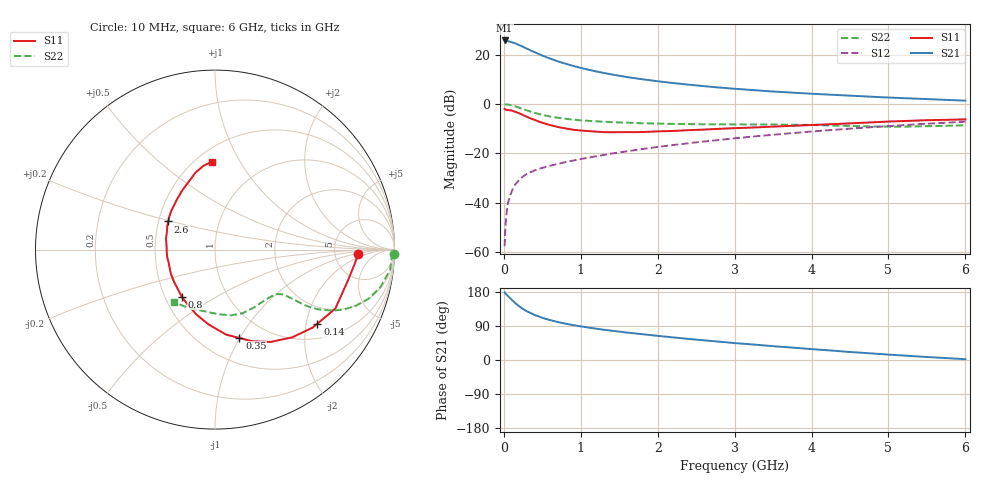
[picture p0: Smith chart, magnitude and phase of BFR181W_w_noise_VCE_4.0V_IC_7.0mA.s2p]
! Infineon Technologies  Discrete & RF Semiconductors
! BFR181W
! VCE =  4.0 V,  IC =  7.0 mA
! Common Emitter S-Parameters:  Jan 2017
# GHz  S  MA  R  50
!  f  S11  S21  S12  S22
! GHz  MAG  ANG  MAG  ANG  MAG  ANG  MAG  ANG
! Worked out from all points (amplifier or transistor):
!   77 points, 10 MHz to 6 GHz, reference 50 ohm
!   highest |S21| = 25.9 dB at 10 MHz (marker M1)
!   |S21| within 3 dB of that: start of sweep to 277.8 MHz
!   unconditionally stable (mu >= 1): 1.168 GHz to 3.165 GHz
!   at 130 MHz: K = 0.22, MSG = 29.3 dB, |S12| = -33.7 dB
!   at 2.2 GHz: K = 1.07, MAG = 11.0 dB, |S12| = -16.6 dB
!   at 6 GHz: K = 0.85, MSG = 4.3 dB, |S12| = -7.1 dB
!   lowest NFmin = 1.08 dB at 450 MHz
!   S11 on the Smith chart (normalised r, x): 10 MHz: 8.77, -1.22; 140 MHz: 1.42, -2.33; 350 MHz: 0.75, -1.00; 800 MHz: 0.61, -0.36; 2.6 GHz: 0.56, +0.19; 6 GHz: 0.60, +0.77
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0.01  0.7989 -1.8  19.65 178.5  0.0013 87.8  0.9961 -1.3
0.02  0.7793 -6.6  19.31 175.5  0.003 93.5  0.986 -2.4
0.05  0.7606 -13.0  19.07 169.4  0.009 82.1  0.9825 -6.5
0.07  0.7503 -18.2  18.66 165.4  0.012 79.5  0.9668 -8.9
0.1  0.7467 -26.1  18.21 159.2  0.0165 77.3  0.9466 -12.6
0.14  0.7042 -35.9  17.32 151.9  0.0222 72.7  0.9082 -16.6
0.2  0.6509 -48.7  15.84 141.6  0.0287 68.9  0.8452 -21.7
0.25  0.6008 -58.9  14.61 134.4  0.034 64.5  0.7938 -24.8
0.3  0.5517 -67.8  13.38 128.4  0.0383 62.5  0.7441 -27.2
0.35  0.5108 -74.6  12.32 123.9  0.0416 61.3  0.7039 -28.6
0.4  0.4782 -82.4  11.36 118.7  0.045 60.3  0.6641 -30.1
0.5  0.4183 -95.0  9.688 111.3  0.0507 58.8  0.6043 -31.5
0.6  0.3759 -106.1  8.429 105.3  0.0559 58.6  0.5609 -32.0
0.8  0.321 -125.3  6.633 95.9  0.0663 59.9  0.5039 -32.5
1.1  0.2833 -148.0  4.999 85.7  0.0819 61.9  0.4577 -33.3
1.6  0.2693 -176.4  3.554 72.4  0.11 63.7  0.4201 -37.0
2.1  0.2818 163.7  2.796 61.7  0.141 64.1  0.3991 -43.5
2.6  0.304 148.9  2.316 51.9  0.1738 63.3  0.3897 -51.7
3.1  0.3287 136.5  1.999 43.1  0.209 61.3  0.3863 -60.2
4.1  0.382 117.3  1.596 27.3  0.285 55.5  0.373 -78.0
5.1  0.4479 102.9  1.341 13.0  0.3661 47.6  0.3484 -103.4
6  0.4901 92.0  1.176 2.1  0.4403 39.1  0.3723 -127.9
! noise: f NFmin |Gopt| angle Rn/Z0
0.45  1.08  0.24  17  0.22
0.9  1.13  0.22  31  0.21
1.9  1.55  0.09  86  0.19
2.4  1.7  0.08  96  0.23
